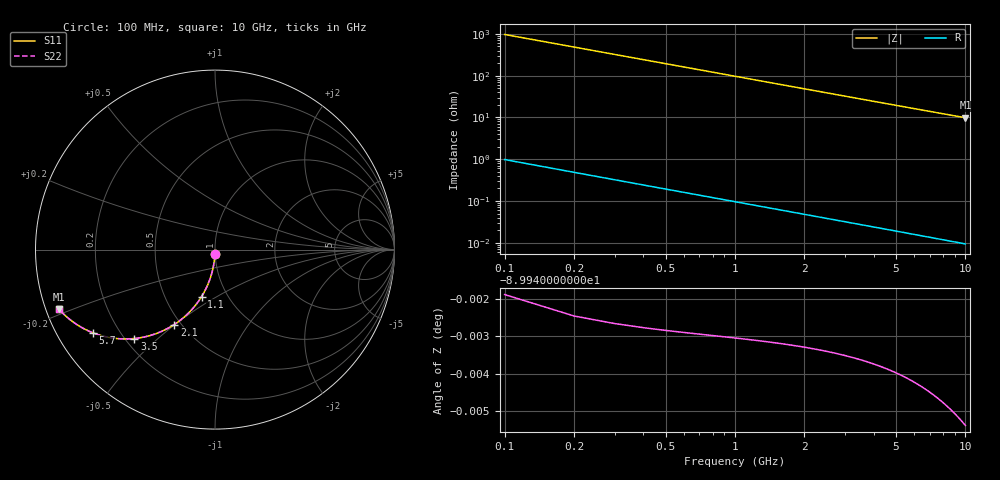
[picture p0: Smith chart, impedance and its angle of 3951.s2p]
# Hz S RI R 50.00
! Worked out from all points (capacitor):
!   100 points, 100 MHz to 10 GHz, reference 50 ohm
!   read as one part in shunt: C = 1.64 pF near 100 MHz
!   lowest |Z| = 9.85 ohm at 10 GHz (marker M1)
!   S11 on the Smith chart (normalised r, x): 100 MHz: 1.00, -0.05; 1.1 GHz: 0.76, -0.43; 2.1 GHz: 0.46, -0.50; 3.5 GHz: 0.24, -0.42; 5.7 GHz: 0.11, -0.30; 10 GHz: 0.04, -0.19
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1e8  -0.000675 -0.0258  0.9993 -0.0259  0.9993 -0.0259  -0.000675 -0.0258
2e8  -0.0027 -0.0514  0.9973 -0.0516  0.9973 -0.0516  -0.0027 -0.0514
3e8  -0.00603 -0.0769  0.9939 -0.0771  0.9939 -0.0771  -0.00603 -0.0769
4e8  -0.0106 -0.102  0.9893 -0.1024  0.9893 -0.1024  -0.0106 -0.102
5e8  -0.0165 -0.1268  0.9835 -0.1272  0.9835 -0.1272  -0.0165 -0.1268
6e8  -0.0236 -0.151  0.9764 -0.1515  0.9764 -0.1515  -0.0236 -0.151
7e8  -0.0318 -0.1747  0.9682 -0.1753  0.9682 -0.1753  -0.0318 -0.1747
9e8  -0.0514 -0.22  0.9485 -0.2208  0.9485 -0.2208  -0.0514 -0.22
1.1e9  -0.0748 -0.2622  0.9251 -0.2631  0.9251 -0.2631  -0.0748 -0.2622
1.4e9  -0.1157 -0.3188  0.8842 -0.32  0.8842 -0.32  -0.1157 -0.3188
1.8e9  -0.1777 -0.381  0.8223 -0.3825  0.8223 -0.3825  -0.1777 -0.381
2.1e9  -0.2271 -0.4176  0.7728 -0.4194  0.7728 -0.4194  -0.2271 -0.4176
2.7e9  -0.3266 -0.4673  0.6733 -0.4696  0.6733 -0.4696  -0.3266 -0.4673
3.4e9  -0.4344 -0.4937  0.5656 -0.4966  0.5656 -0.4966  -0.4344 -0.4937
3.5e9  -0.4486 -0.4954  0.5513 -0.4984  0.5513 -0.4984  -0.4486 -0.4954
4.3e9  -0.5508 -0.4951  0.4492 -0.4988  0.4492 -0.4988  -0.5508 -0.4951
5.1e9  -0.6326 -0.4794  0.3673 -0.4838  0.3673 -0.4838  -0.6326 -0.4794
5.7e9  -0.6824 -0.4626  0.3176 -0.4675  0.3176 -0.4675  -0.6824 -0.4626
6.7e9  -0.7477 -0.4309  0.2522 -0.4367  0.2522 -0.4367  -0.7477 -0.4309
7.5e9  -0.7877 -0.4052  0.2123 -0.4117  0.2123 -0.4117  -0.7877 -0.4052
8.4e9  -0.8229 -0.3775  0.177 -0.3848  0.177 -0.3848  -0.8229 -0.3775
1e10  -0.868 -0.3335  0.1319 -0.3423  0.1319 -0.3423  -0.868 -0.3335
